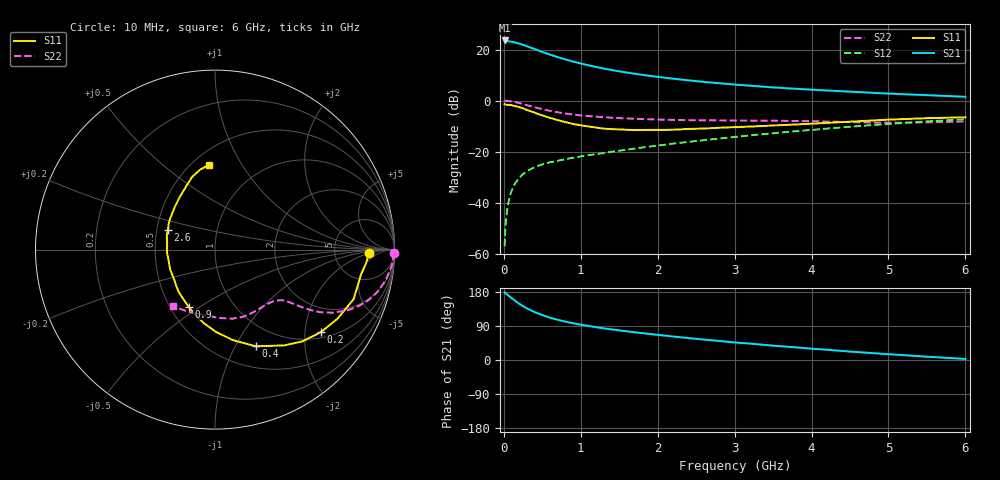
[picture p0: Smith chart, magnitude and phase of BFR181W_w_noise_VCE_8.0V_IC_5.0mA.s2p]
! (c) 2017  Infineon Technologies AG, Munich
! Infineon Technologies  Discrete & RF Semiconductors
! BFR181W
! VCE =  8.0 V,  IC =  5.0 mA
! Common Emitter S-Parameters:  Jan 2017
# GHz  S  MA  R  50
!  f  S11  S21  S12  S22
! GHz  MAG  ANG  MAG  ANG  MAG  ANG  MAG  ANG
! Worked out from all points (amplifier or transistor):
!   77 points, 10 MHz to 6 GHz, reference 50 ohm
!   highest |S21| = 23.6 dB at 10 MHz (marker M1)
!   |S21| within 3 dB of that: start of sweep to 364.9 MHz
!   unconditionally stable (mu >= 1): 1.394 GHz to 3.319 GHz
!   at 130 MHz: K = 0.16, MSG = 28.2 dB, |S12| = -33.4 dB
!   at 2.2 GHz: K = 1.06, MAG = 11.2 dB, |S12| = -16.8 dB
!   at 6 GHz: K = 0.84, MSG = 4.4 dB, |S12| = -7.3 dB
!   lowest NFmin = 0.97 dB at 450 MHz
!   S11 on the Smith chart (normalised r, x): 10 MHz: 13, -2; 200 MHz: 1.16, -2.42; 400 MHz: 0.74, -1.21; 900 MHz: 0.62, -0.45; 2.6 GHz: 0.57, +0.13; 6 GHz: 0.60, +0.73
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0.01  0.8594 -1.1  15.2 178.7  0.0014 93.2  0.9982 -1.0
0.02  0.8447 -5.3  15.04 176.1  0.0031 93.7  0.9947 -1.9
0.04  0.8312 -8.2  14.86 173.1  0.0066 85.0  0.9907 -4.0
0.1  0.8202 -19.7  14.35 163.5  0.017 80.1  0.9676 -10.0
0.15  0.783 -29.6  13.84 155.9  0.0243 75.0  0.9371 -14.4
0.2  0.7481 -37.9  13.15 148.5  0.0305 71.6  0.8997 -18.3
0.25  0.7056 -46.5  12.47 141.9  0.0364 67.1  0.8593 -21.5
0.3  0.6588 -54.1  11.68 136.1  0.0412 64.6  0.817 -24.3
0.4  0.5842 -67.2  10.32 126.2  0.0498 60.5  0.7442 -28.2
0.5  0.5146 -78.7  9.045 118.4  0.0562 57.5  0.6815 -30.8
0.6  0.4604 -89.0  8.02 111.7  0.062 56.5  0.6312 -32.3
0.7  0.4162 -98.2  7.15 106.1  0.0662 56.8  0.5927 -33.2
0.9  0.35 -114.9  5.857 97.0  0.0759 56.4  0.5359 -34.5
1.1  0.3125 -129.7  4.953 89.9  0.0853 57.3  0.5004 -35.5
1.3  0.2833 -142.9  4.271 83.5  0.0941 58.1  0.4744 -36.7
1.6  0.2688 -160.8  3.559 75.5  0.1096 59.6  0.4497 -39.1
2.1  0.268 175.5  2.816 64.2  0.1378 61.0  0.4235 -45.1
2.6  0.2843 157.7  2.338 53.9  0.1679 61.0  0.4123 -52.9
3.1  0.3067 143.1  2.022 44.8  0.2014 59.9  0.4075 -60.8
4.1  0.3602 121.5  1.615 28.5  0.2755 55.3  0.3928 -77.9
5.1  0.4306 105.8  1.36 14.0  0.358 48.0  0.3695 -102.5
6  0.473 94.0  1.195 2.7  0.434 39.5  0.3937 -126.7
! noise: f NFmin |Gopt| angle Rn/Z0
0.45  0.97  0.33  16  0.23
0.9  1.03  0.3  30  0.23
1.9  1.44  0.15  80  0.2
2.4  1.59  0.13  94  0.22
